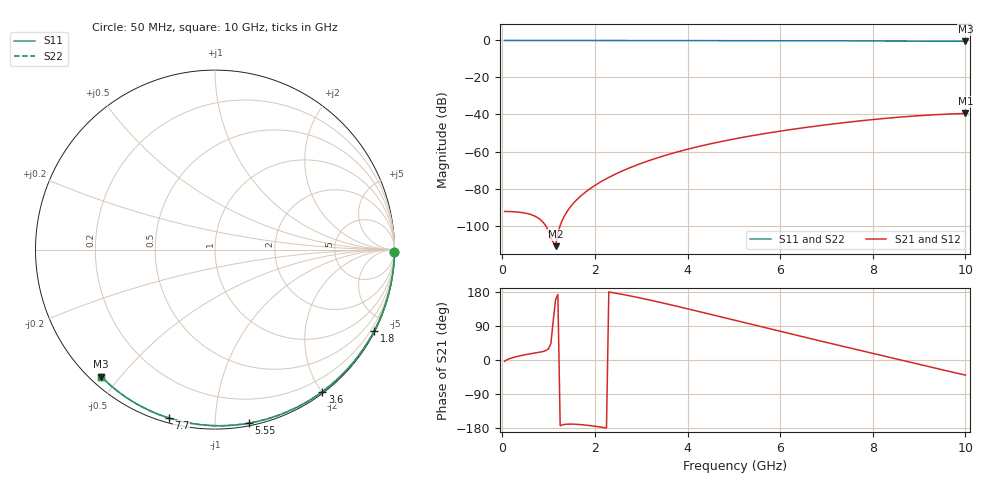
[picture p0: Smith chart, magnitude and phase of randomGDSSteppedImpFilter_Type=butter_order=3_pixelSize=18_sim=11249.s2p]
! freq	dB(S11)	phase(S11)	dB(S12)	phase(S12)
!  dB(S21)	phase(S21)	dB(S22)	phase(S22)
!S-par simulation data
#  GHz  S  DB  R 50
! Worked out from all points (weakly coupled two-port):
!   200 points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, 50 MHz to 10 GHz, reference 50 ohm
!   highest |S21| = -39.42 dB at 10 GHz (marker M1); lowest = -111.2 dB at 1.15 GHz (marker M2)
!   lowest |S11| = -0.4 dB at 10 GHz (marker M3), VSWR 38.93, Z = 1.54 - j22.3 ohm
!   |S11| at or under -10 dB: nowhere
!   |S22| runs from -0.4 to 0.0 dB; largest |S21 - S12| = 0
!   S11 on the Smith chart (normalised r, x): 50 MHz: open; 1.8 GHz: 0.04, -4.16; 3.6 GHz: 0.02, -2.01; 5.55 GHz: 0.02, -1.21; 7.7 GHz: 0.02, -0.76; 10 GHz: 0.03, -0.45
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0.05  -0.00 -0.8  -92.41 -3.4  -92.41 -3.4  -0.00 -0.8
0.6  -0.01 -9.1  -93.94 16.4  -93.94 16.4  -0.01 -9.1
1.15  -0.02 -17.4  -111.15 159.0  -111.15 159.0  -0.02 -17.4
1.75  -0.03 -26.3  -82.85 -171.2  -82.85 -171.2  -0.03 -26.3
1.8  -0.03 -27.0  -81.85 -171.8  -81.85 -171.8  -0.03 -27.0
1.9  -0.04 -28.5  -80.01 -173.2  -80.01 -173.2  -0.04 -28.5
2.05  -0.04 -30.7  -77.54 -175.6  -77.54 -175.6  -0.04 -30.7
2.25  -0.04 -33.6  -74.66 -179.4  -74.66 -179.4  -0.04 -33.6
2.45  -0.05 -36.5  -72.14 176.4  -72.14 176.4  -0.05 -36.5
2.65  -0.05 -39.4  -69.87 171.8  -69.87 171.8  -0.05 -39.4
3  -0.06 -44.4  -66.40 163.1  -66.40 163.1  -0.06 -44.4
3.4  -0.07 -50.1  -63.01 152.4  -63.01 152.4  -0.07 -50.1
3.6  -0.07 -52.9  -61.50 146.7  -61.50 146.7  -0.07 -52.9
4.3  -0.09 -62.5  -56.95 126.3  -56.95 126.3  -0.09 -62.5
5.05  -0.11 -72.5  -53.02 103.8  -53.02 103.8  -0.11 -72.5
5.55  -0.13 -79.0  -50.80 88.8  -50.80 88.8  -0.13 -79.0
6.1  -0.15 -86.0  -48.62 72.6  -48.62 72.6  -0.15 -86.0
6.7  -0.18 -93.4  -46.52 55.1  -46.52 55.1  -0.18 -93.4
7.7  -0.24 -105.4  -43.52 26.1  -43.52 26.1  -0.24 -105.4
8.35  -0.29 -113.1  -41.92 7.2  -41.92 7.2  -0.29 -113.1
9.15  -0.36 -122.3  -40.41 -16.0  -40.41 -16.0  -0.36 -122.3
10  -0.45 -131.8  -39.42 -39.8  -39.42 -39.8  -0.45 -131.8
